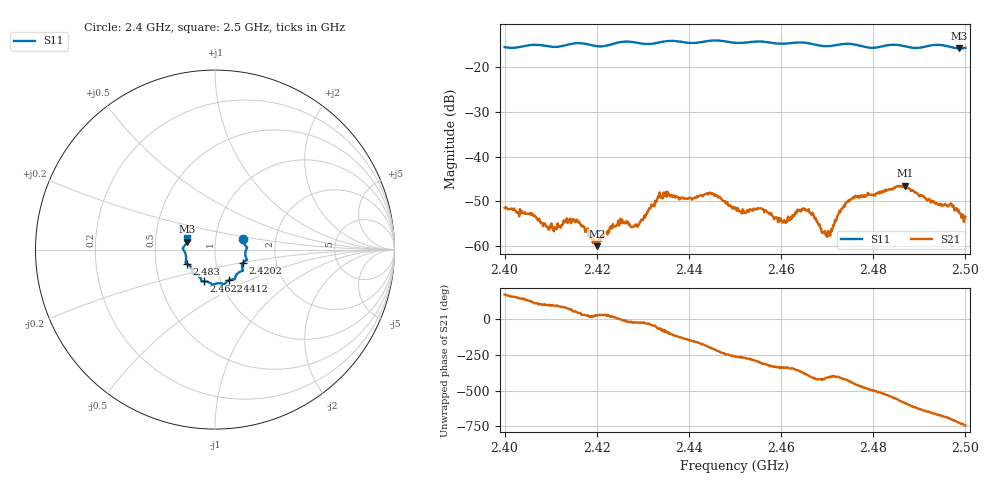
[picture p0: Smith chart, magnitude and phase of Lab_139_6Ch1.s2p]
# Hz S RI R 50
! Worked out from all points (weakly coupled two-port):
!   601 points, 2.4 GHz to 2.5 GHz, reference 50 ohm
!   highest |S21| = -46.56 dB at 2.4868 GHz (marker M1); lowest = -60.1 dB at 2.42 GHz (marker M2)
!   lowest |S11| = -15.8 dB at 2.4987 GHz (marker M3), VSWR 1.39, Z = 36.3 + j3.3 ohm
!   |S11| at or under -10 dB: start of sweep to end of sweep
!   S12 and S22 are empty: the file has one direction only
!   S11 on the Smith chart (normalised r, x): 2.4 GHz: 1.36, +0.17; 2.4202 GHz: 1.35, -0.20; 2.4412 GHz: 1.09, -0.39; 2.4622 GHz: 0.83, -0.30; 2.483 GHz: 0.72, -0.12; 2.5 GHz: 0.73, +0.09
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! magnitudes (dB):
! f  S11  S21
! 2.4 GHz  -15.5  -51.5
! 2.4095 GHz  -15.3  -56.4
! 2.4137 GHz  -14.9  -54.9
! 2.4167 GHz  -14.6  -55.7
! 2.42 GHz  -15.2  -60.1
! 2.4202 GHz  -15.3  -59.2
! 2.425 GHz  -14.4  -54.7
! 2.4288 GHz  -14.5  -55.8
! 2.4333 GHz  -14.5  -48.9
! 2.4412 GHz  -14.5  -49.4
! 2.4448 GHz  -14.0  -48.2
! 2.45 GHz  -14.5  -51.5
! 2.4622 GHz  -14.5  -53.5
! 2.4643 GHz  -14.4  -52.3
! 2.4667 GHz  -14.7  -53.2
! 2.4702 GHz  -15.2  -56.7
! 2.4745 GHz  -14.7  -50.2
! 2.483 GHz  -15.0  -47.6
! 2.4833 GHz  -15.0  -47.4
! 2.4868 GHz  -15.3  -46.6
! 2.4987 GHz  -15.8  -52.7
! 2.5 GHz  -15.6  -53.6
